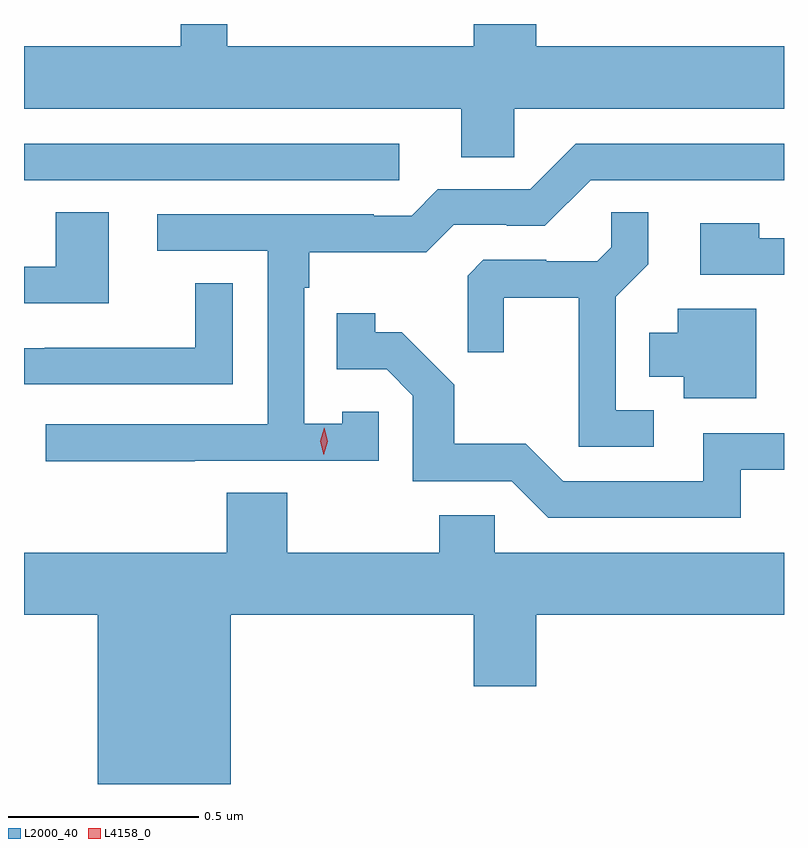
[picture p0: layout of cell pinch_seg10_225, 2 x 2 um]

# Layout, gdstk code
import gdstk
lib = gdstk.Library(unit=1e-6, precision=1e-09)
def R(c, l, rs):  # rectangles x0, y0, x1, y1
    for r in rs: c.add(gdstk.rectangle(r[:2], r[2:], *l))
def P(c, l, *ps):  # polygons
    for p in ps: c.add(gdstk.Polygon(p, *l))
L2000_40 = (2000, 40)
L4158_0 = (4158, 0)

pinch_seg10_225 = lib.new_cell('pinch_seg10_225')
R(pinch_seg10_225, L2000_40, [(643.344,1302.792,644.332,1302.888)])
P(pinch_seg10_225, L2000_40, [(644.634,1302.98),(645.344,1302.98),(645.344,1303.144),(644.692,1303.144),(644.692,1303.203),(644.528,1303.203),(644.528,1303.144),(643.879,1303.144),(643.879,1303.203),(643.757,1303.203),(643.757,1303.144),(643.344,1303.144),(643.344,1302.98),(644.495,1302.98),(644.495,1302.853),(644.634,1302.853)],
  [(643.793,1302.054),(644.277,1302.054),(644.277,1302.183),(644.181,1302.183),(644.181,1302.151),(644.082,1302.151),(644.082,1302.509),(644.095,1302.509),(644.095,1302.602),(644.402,1302.602),(644.475,1302.675),(644.614,1302.675),(644.614,1302.672),(644.715,1302.672),(644.835,1302.792),(645.344,1302.792),(645.344,1302.888),(644.796,1302.888),(644.676,1302.768),(644.433,1302.768),(644.364,1302.699),(644.264,1302.699),(644.264,1302.702),(643.695,1302.702),(643.695,1302.606),(643.986,1302.606),(643.986,1302.15),(643.401,1302.15),(643.401,1302.052),(643.793,1302.052)],
  [(645.001,1302.186),(644.901,1302.186),(644.901,1302.485),(644.987,1302.571),(644.987,1302.707),(644.889,1302.707),(644.889,1302.616),(644.852,1302.579),(644.718,1302.579),(644.718,1302.582),(644.553,1302.582),(644.512,1302.541),(644.512,1302.339),(644.606,1302.339),(644.606,1302.482),(644.804,1302.482),(644.804,1302.09),(645.001,1302.09)],
  [(643.567,1302.707),(643.427,1302.707),(643.427,1302.564),(643.344,1302.564),(643.344,1302.468),(643.567,1302.468)],
  [(645.344,1302.639),(645.279,1302.639),(645.279,1302.679),(645.123,1302.679),(645.123,1302.543),(645.344,1302.543)],
  [(643.893,1302.521),(643.795,1302.521),(643.795,1302.351),(643.399,1302.351),(643.399,1302.35),(643.344,1302.35),(643.344,1302.255),(643.893,1302.255)],
  [(645.271,1302.454),(645.065,1302.454),(645.065,1302.391),(644.99,1302.391),(644.99,1302.275),(645.08,1302.275),(645.08,1302.218),(645.271,1302.218)],
  [(645.23,1302.03),(645.344,1302.03),(645.344,1302.126),(645.131,1302.126),(645.131,1302),(644.763,1302),(644.665,1302.099),(644.476,1302.099),(644.476,1302.254),(644.338,1302.392),(644.268,1302.392),(644.268,1302.442),(644.167,1302.442),(644.167,1302.294),(644.298,1302.294),(644.367,1302.225),(644.367,1302),(644.628,1302),(644.724,1301.904),(645.23,1301.904)],
  [(643.888,1301.648),(644.528,1301.648),(644.528,1301.46),(644.692,1301.46),(644.692,1301.648),(645.344,1301.648),(645.344,1301.812),(644.583,1301.812),(644.583,1301.91),(644.437,1301.91),(644.437,1301.812),(644.037,1301.812),(644.037,1301.969),(643.877,1301.969),(643.877,1301.812),(643.344,1301.812),(643.344,1301.648),(643.538,1301.648),(643.538,1301.203),(643.888,1301.203)])
P(pinch_seg10_225, L4158_0, [(644.133,1302.069),(644.133,1302.069),(644.123,1302.105),(644.134,1302.141),(644.134,1302.141),(644.134,1302.141),(644.143,1302.105),(644.133,1302.069)])

lib.write_gds('pinch_seg10_225.gds')
